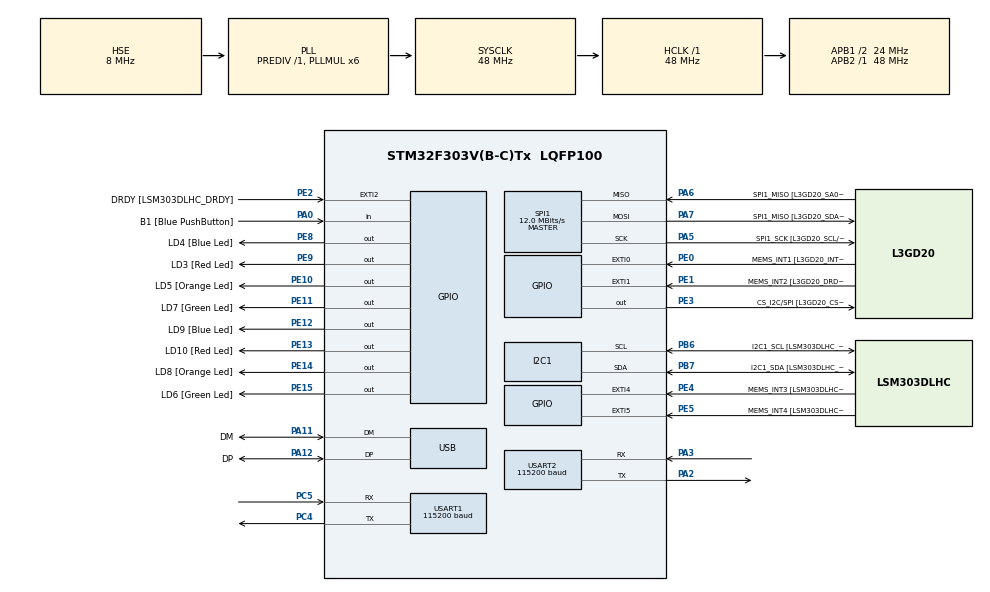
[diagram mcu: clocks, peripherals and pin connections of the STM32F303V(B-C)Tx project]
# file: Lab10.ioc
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I2C1.Timing=0x2000090E
I2C1.Timing-I2C=0x2000090E
Mcu.Family=STM32F3
Mcu.Name=STM32F303V(B-C)Tx
Mcu.Package=LQFP100
NVIC.PriorityGroup=NVIC_PRIORITYGROUP_0
NVIC.USB_LP_CAN_RX0_IRQn=true\:0\:0\:false\:false\:true\:false\:true\:true
PA0.GPIO_Label=B1 [Blue PushButton]
PA0.Signal=GPIO_Input
PA11.GPIO_Label=DM
PA11.Mode=Device
PA11.Signal=USB_DM
PA12.GPIO_Label=DP
PA12.Mode=Device
PA12.Signal=USB_DP
PA13.GPIO_Label=SWDIO
PA13.Mode=Serial_Wire
PA13.Signal=SYS_JTMS-SWDIO
PA14.GPIO_Label=SWCLK
PA14.Mode=Serial_Wire
PA14.Signal=SYS_JTCK-SWCLK
PA2.Mode=Asynchronous
PA2.Signal=USART2_TX
PA3.Mode=Asynchronous
PA3.Signal=USART2_RX
PA5.GPIO_Label=SPI1_SCK [L3GD20_SCL/SPC]
PA5.Mode=Full_Duplex_Master
PA5.Signal=SPI1_SCK
PA6.GPIO_Label=SPI1_MISO [L3GD20_SA0/SDO]
PA6.Mode=Full_Duplex_Master
PA6.Signal=SPI1_MISO
PA7.GPIO_Label=SPI1_MISO [L3GD20_SDA/SDI/SDO]
PA7.Mode=Full_Duplex_Master
PA7.Signal=SPI1_MOSI
PB3.GPIO_Label=SWO
PB3.Signal=SYS_JTDO-TRACESWO
PB6.GPIO_Label=I2C1_SCL [LSM303DLHC_SCL]
PB6.GPIO_Pu=GPIO_PULLUP
PB6.Mode=I2C
PB6.Signal=I2C1_SCL
PB7.GPIO_Label=I2C1_SDA [LSM303DLHC_SDA]
PB7.GPIO_Pu=GPIO_PULLUP
PB7.Mode=I2C
PB7.Signal=I2C1_SDA
PC14-OSC32_IN.GPIO_Label=OSC32_IN
PC14-OSC32_IN.Signal=RCC_OSC32_IN
PC15-OSC32_OUT.GPIO_Label=OSC32_OUT
PC15-OSC32_OUT.Signal=RCC_OSC32_OUT
PC4.Mode=Asynchronous
PC4.Signal=USART1_TX
PC5.Mode=Asynchronous
PC5.Signal=USART1_RX
PE0.GPIO_Label=MEMS_INT1 [L3GD20_INT1]
PE0.GPIO_ModeDefaultEXTI=GPIO_MODE_EVT_RISING
PE0.Signal=GPXTI0
PE1.GPIO_Label=MEMS_INT2 [L3GD20_DRDY/INT2]
PE1.GPIO_ModeDefaultEXTI=GPIO_MODE_EVT_RISING
PE1.Signal=GPXTI1
PE10.GPIO_Label=LD5 [Orange Led]
PE10.Signal=GPIO_Output
PE11.GPIO_Label=LD7 [Green Led]
PE11.Signal=GPIO_Output
PE12.GPIO_Label=LD9 [Blue Led]
PE12.Signal=GPIO_Output
PE13.GPIO_Label=LD10 [Red Led]
PE13.Signal=GPIO_Output
PE14.GPIO_Label=LD8 [Orange Led]
PE14.Signal=GPIO_Output
PE15.GPIO_Label=LD6 [Green Led]
PE15.Signal=GPIO_Output
PE2.GPIO_Label=DRDY [LSM303DLHC_DRDY]
PE2.GPIO_ModeDefaultEXTI=GPIO_MODE_EVT_RISING
PE2.Signal=GPXTI2
PE3.GPIO_Label=CS_I2C/SPI [L3GD20_CS_I2C/SPI]
PE3.Signal=GPIO_Output
PE4.GPIO_Label=MEMS_INT3 [LSM303DLHC_INT1]
PE4.GPIO_ModeDefaultEXTI=GPIO_MODE_EVT_RISING
PE4.Signal=GPXTI4
PE5.GPIO_Label=MEMS_INT4 [LSM303DLHC_INT2]
PE5.GPIO_ModeDefaultEXTI=GPIO_MODE_EVT_RISING
PE5.Signal=GPXTI5
PE8.GPIO_Label=LD4 [Blue Led]
PE8.Signal=GPIO_Output
PE9.GPIO_Label=LD3 [Red Led]
PE9.Signal=GPIO_Output
PF0-OSC_IN.GPIO_Label=OSC_IN
PF0-OSC_IN.Mode=HSE-External-Clock-Source
PF0-OSC_IN.Signal=RCC_OSC_IN
PF1-OSC_OUT.GPIO_Label=OSC_OUT
PF1-OSC_OUT.Signal=RCC_OSC_OUT
ProjectManager.HeapSize=0x200
ProjectManager.StackSize=0x400
ProjectManager.TargetToolchain=CMake
RCC.AHBFreq_Value=48000000
RCC.APB1CLKDivider=RCC_HCLK_DIV2
RCC.APB1Freq_Value=24000000
RCC.APB1TimFreq_Value=48000000
RCC.APB2Freq_Value=48000000
RCC.APB2TimFreq_Value=48000000
RCC.CortexFreq_Value=48000000
RCC.HCLKFreq_Value=48000000
RCC.HSE_VALUE=8000000
RCC.HSI_VALUE=8000000
RCC.LSE_VALUE=32768
RCC.PLLMUL=RCC_PLL_MUL6
RCC.SYSCLKFreq_VALUE=48000000
RCC.SYSCLKSourceVirtual=RCC_SYSCLKSOURCE_PLLCLK
RCC.USBFreq_Value=48000000
SPI1.BaudRatePrescaler=SPI_BAUDRATEPRESCALER_4
SPI1.BaudRatePrescaler-Full_Duplex_Master=SPI_BAUDRATEPRESCALER_2
SPI1.CalculateBaudRate=12.0 MBits/s
SPI1.CalculateBaudRate-Full_Duplex_Master=24.0 MBits/s
SPI1.Direction=SPI_DIRECTION_2LINES
SPI1.Mode=SPI_MODE_MASTER
SPI1.Mode-Full_Duplex_Master=SPI_MODE_MASTER
SPI1.VirtualType=VM_MASTER
USART1.BaudRate=115200
USART1.VirtualMode-Asynchronous=VM_ASYNC
USART2.BaudRate=115200
USART2.VirtualMode-Asynchronous=VM_ASYNC
USB_DEVICE.CLASS_NAME_FS=CDC
USB_DEVICE.VirtualMode=Cdc
USB_DEVICE.VirtualModeFS=Cdc_FS
VP_USB_DEVICE_VS_USB_DEVICE_CDC_FS.Mode=CDC_FS
board=STM32F3DISCOVERY

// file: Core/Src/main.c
/* USER CODE BEGIN Header */
/**
  ******************************************************************************
  * @file           : main.c
  * @brief          : Main program body
  ******************************************************************************
  * @attention
  *
  * Copyright (c) 2026 STMicroelectronics.
  * All rights reserved.
  *
  * This software is licensed under terms that can be found in the LICENSE file
  * in the root directory of this software component.
  * If no LICENSE file comes with this software, it is provided AS-IS.
  *
  ******************************************************************************
  */
/* USER CODE END Header */
#include "main.h"
#include "usb_device.h"
#include "stdarg.h"
#include "stdio.h"
#include "stm32f3xx_hal.h"
#include "string.h"
#include "math.h"
#include <alloca.h>

I2C_HandleTypeDef hi2c1;

SPI_HandleTypeDef hspi1;

UART_HandleTypeDef huart1;
UART_HandleTypeDef huart2;

void SystemClock_Config(void);
static void MX_GPIO_Init(void);
static void MX_I2C1_Init(void);
static void MX_SPI1_Init(void);
static void MX_USART1_UART_Init(void);
static void MX_USART2_UART_Init(void);

/* USER CODE BEGIN 0 */
void myPrintf(const char *fmt, ...);
static size_t allocation_count = 0;
int n = 10;
/* USER CODE END 0 */

int main(void)
{

  /* MCU Configuration--------------------------------------------------------*/

  /* Reset of all peripherals, Initializes the Flash interface and the Systick. */
  HAL_Init();

  /* Configure the system clock */
  SystemClock_Config();

  /* Initialize all configured peripherals */
  MX_GPIO_Init();
  MX_I2C1_Init();
  MX_SPI1_Init();
  MX_USART1_UART_Init();
  MX_USART2_UART_Init();
  MX_USB_DEVICE_Init();

  /* USER CODE BEGIN 2 */
  myPrintf("Initial Allocation Count: %d \r\n", allocation_count);

  int* array = (int*) malloc(n * sizeof(int));
  allocation_count ++;
  myPrintf("Allocation Count: %d \r\n", allocation_count);

  if (array != NULL){
    for (int i = 0; i < n; i++){
      *(array + i) = i * 2;
    }

    for (int i = 0; i < n; i++){
      myPrintf("i = %d, element = %d \r\n", i, *(array + i));
    }
  }

  else {
    myPrintf("Failed to allocate memory for array \r\n");
  }

  int* array2 = (int*) calloc(n, sizeof(int));
  allocation_count ++;
  myPrintf("Allocation Count: %d \r\n", allocation_count);
  if (array2 != NULL){
    for (int i = 0; i < n; i++){
      *(array2 + i) = i + 1;
    }

    for (int i = 0; i < n; i++){
      myPrintf("i = %d, element = %d \r\n", i, *(array2 + i));
    }
  }
  else {
    myPrintf("Failed to allocate memory for array2 \r\n");
  }

  if(array != NULL){
    free(array);
    allocation_count --;
    array = NULL;
    myPrintf("Allocation Count: %d \r\n", allocation_count);
  }

  if(array2 != NULL){
    free(array2);
    allocation_count --;
    array2 = NULL;
    myPrintf("Allocation Count: %d \r\n", allocation_count);
  }
  /* USER CODE END 2 */

  /* Infinite loop */
  while (1)
  {
  }
}

void SystemClock_Config(void)
{
  RCC_OscInitTypeDef RCC_OscInitStruct = {0};
  RCC_ClkInitTypeDef RCC_ClkInitStruct = {0};
  RCC_PeriphCLKInitTypeDef PeriphClkInit = {0};

  /** Initializes the RCC Oscillators according to the specified parameters
  * in the RCC_OscInitTypeDef structure.
  */
  RCC_OscInitStruct.OscillatorType = RCC_OSCILLATORTYPE_HSI|RCC_OSCILLATORTYPE_HSE;
  RCC_OscInitStruct.HSEState = RCC_HSE_BYPASS;
  RCC_OscInitStruct.HSEPredivValue = RCC_HSE_PREDIV_DIV1;
  RCC_OscInitStruct.HSIState = RCC_HSI_ON;
  RCC_OscInitStruct.HSICalibrationValue = RCC_HSICALIBRATION_DEFAULT;
  RCC_OscInitStruct.PLL.PLLState = RCC_PLL_ON;
  RCC_OscInitStruct.PLL.PLLSource = RCC_PLLSOURCE_HSE;
  RCC_OscInitStruct.PLL.PLLMUL = RCC_PLL_MUL6;
  if (HAL_RCC_OscConfig(&RCC_OscInitStruct) != HAL_OK)
  {
    Error_Handler();
  }

  /** Initializes the CPU, AHB and APB buses clocks
  */
  RCC_ClkInitStruct.ClockType = RCC_CLOCKTYPE_HCLK|RCC_CLOCKTYPE_SYSCLK
                              |RCC_CLOCKTYPE_PCLK1|RCC_CLOCKTYPE_PCLK2;
  RCC_ClkInitStruct.SYSCLKSource = RCC_SYSCLKSOURCE_PLLCLK;
  RCC_ClkInitStruct.AHBCLKDivider = RCC_SYSCLK_DIV1;
  RCC_ClkInitStruct.APB1CLKDivider = RCC_HCLK_DIV2;
  RCC_ClkInitStruct.APB2CLKDivider = RCC_HCLK_DIV1;

  if (HAL_RCC_ClockConfig(&RCC_ClkInitStruct, FLASH_LATENCY_1) != HAL_OK)
  {
    Error_Handler();
  }
  PeriphClkInit.PeriphClockSelection = RCC_PERIPHCLK_USB|RCC_PERIPHCLK_USART1
                              |RCC_PERIPHCLK_USART2|RCC_PERIPHCLK_I2C1;
  PeriphClkInit.Usart1ClockSelection = RCC_USART1CLKSOURCE_PCLK2;
  PeriphClkInit.Usart2ClockSelection = RCC_USART2CLKSOURCE_PCLK1;
  PeriphClkInit.I2c1ClockSelection = RCC_I2C1CLKSOURCE_HSI;
  PeriphClkInit.USBClockSelection = RCC_USBCLKSOURCE_PLL;
  if (HAL_RCCEx_PeriphCLKConfig(&PeriphClkInit) != HAL_OK)
  {
    Error_Handler();
  }
}

static void MX_I2C1_Init(void)
{

  hi2c1.Instance = I2C1;
  hi2c1.Init.Timing = 0x2000090E;
  hi2c1.Init.OwnAddress1 = 0;
  hi2c1.Init.AddressingMode = I2C_ADDRESSINGMODE_7BIT;
  hi2c1.Init.DualAddressMode = I2C_DUALADDRESS_DISABLE;
  hi2c1.Init.OwnAddress2 = 0;
  hi2c1.Init.OwnAddress2Masks = I2C_OA2_NOMASK;
  hi2c1.Init.GeneralCallMode = I2C_GENERALCALL_DISABLE;
  hi2c1.Init.NoStretchMode = I2C_NOSTRETCH_DISABLE;
  if (HAL_I2C_Init(&hi2c1) != HAL_OK)
  {
    Error_Handler();
  }

  /** Configure Analogue filter
  */
  if (HAL_I2CEx_ConfigAnalogFilter(&hi2c1, I2C_ANALOGFILTER_ENABLE) != HAL_OK)
  {
    Error_Handler();
  }

  /** Configure Digital filter
  */
  if (HAL_I2CEx_ConfigDigitalFilter(&hi2c1, 0) != HAL_OK)
  {
    Error_Handler();
  }

}

static void MX_SPI1_Init(void)
{

  /* SPI1 parameter configuration*/
  hspi1.Instance = SPI1;
  hspi1.Init.Mode = SPI_MODE_MASTER;
  hspi1.Init.Direction = SPI_DIRECTION_2LINES;
  hspi1.Init.DataSize = SPI_DATASIZE_4BIT;
  hspi1.Init.CLKPolarity = SPI_POLARITY_LOW;
  hspi1.Init.CLKPhase = SPI_PHASE_1EDGE;
  hspi1.Init.NSS = SPI_NSS_SOFT;
  hspi1.Init.BaudRatePrescaler = SPI_BAUDRATEPRESCALER_4;
  hspi1.Init.FirstBit = SPI_FIRSTBIT_MSB;
  hspi1.Init.TIMode = SPI_TIMODE_DISABLE;
  hspi1.Init.CRCCalculation = SPI_CRCCALCULATION_DISABLE;
  hspi1.Init.CRCPolynomial = 7;
  hspi1.Init.CRCLength = SPI_CRC_LENGTH_DATASIZE;
  hspi1.Init.NSSPMode = SPI_NSS_PULSE_ENABLE;
  if (HAL_SPI_Init(&hspi1) != HAL_OK)
  {
    Error_Handler();
  }

}

static void MX_USART1_UART_Init(void)
{

  huart1.Instance = USART1;
  huart1.Init.BaudRate = 115200;
  huart1.Init.WordLength = UART_WORDLENGTH_8B;
  huart1.Init.StopBits = UART_STOPBITS_1;
  huart1.Init.Parity = UART_PARITY_NONE;
  huart1.Init.Mode = UART_MODE_TX_RX;
  huart1.Init.HwFlowCtl = UART_HWCONTROL_NONE;
  huart1.Init.OverSampling = UART_OVERSAMPLING_16;
  huart1.Init.OneBitSampling = UART_ONE_BIT_SAMPLE_DISABLE;
  huart1.AdvancedInit.AdvFeatureInit = UART_ADVFEATURE_NO_INIT;
  if (HAL_UART_Init(&huart1) != HAL_OK)
  {
    Error_Handler();
  }

}

static void MX_USART2_UART_Init(void)
{

  huart2.Instance = USART2;
  huart2.Init.BaudRate = 115200;
  huart2.Init.WordLength = UART_WORDLENGTH_8B;
  huart2.Init.StopBits = UART_STOPBITS_1;
  huart2.Init.Parity = UART_PARITY_NONE;
  huart2.Init.Mode = UART_MODE_TX_RX;
  huart2.Init.HwFlowCtl = UART_HWCONTROL_NONE;
  huart2.Init.OverSampling = UART_OVERSAMPLING_16;
  huart2.Init.OneBitSampling = UART_ONE_BIT_SAMPLE_DISABLE;
  huart2.AdvancedInit.AdvFeatureInit = UART_ADVFEATURE_NO_INIT;
  if (HAL_UART_Init(&huart2) != HAL_OK)
  {
    Error_Handler();
  }

}

static void MX_GPIO_Init(void)
{
  GPIO_InitTypeDef GPIO_InitStruct = {0};

  /* GPIO Ports Clock Enable */
  __HAL_RCC_GPIOE_CLK_ENABLE();
  __HAL_RCC_GPIOC_CLK_ENABLE();
  __HAL_RCC_GPIOF_CLK_ENABLE();
  __HAL_RCC_GPIOA_CLK_ENABLE();
  __HAL_RCC_GPIOB_CLK_ENABLE();

  /*Configure GPIO pin Output Level */
  HAL_GPIO_WritePin(GPIOE, CS_I2C_SPI_Pin|LD4_Pin|LD3_Pin|LD5_Pin
                          |LD7_Pin|LD9_Pin|LD10_Pin|LD8_Pin
                          |LD6_Pin, GPIO_PIN_RESET);

  /*Configure GPIO pins : DRDY_Pin MEMS_INT3_Pin MEMS_INT4_Pin MEMS_INT1_Pin
                           MEMS_INT2_Pin */
  GPIO_InitStruct.Pin = DRDY_Pin|MEMS_INT3_Pin|MEMS_INT4_Pin|MEMS_INT1_Pin
                          |MEMS_INT2_Pin;
  GPIO_InitStruct.Mode = GPIO_MODE_EVT_RISING;
  GPIO_InitStruct.Pull = GPIO_NOPULL;
  HAL_GPIO_Init(GPIOE, &GPIO_InitStruct);

  /*Configure GPIO pins : CS_I2C_SPI_Pin LD4_Pin LD3_Pin LD5_Pin
                           LD7_Pin LD9_Pin LD10_Pin LD8_Pin
                           LD6_Pin */
  GPIO_InitStruct.Pin = CS_I2C_SPI_Pin|LD4_Pin|LD3_Pin|LD5_Pin
                          |LD7_Pin|LD9_Pin|LD10_Pin|LD8_Pin
                          |LD6_Pin;
  GPIO_InitStruct.Mode = GPIO_MODE_OUTPUT_PP;
  GPIO_InitStruct.Pull = GPIO_NOPULL;
  GPIO_InitStruct.Speed = GPIO_SPEED_FREQ_LOW;
  HAL_GPIO_Init(GPIOE, &GPIO_InitStruct);

  /*Configure GPIO pin : B1_Pin */
  GPIO_InitStruct.Pin = B1_Pin;
  GPIO_InitStruct.Mode = GPIO_MODE_INPUT;
  GPIO_InitStruct.Pull = GPIO_NOPULL;
  HAL_GPIO_Init(B1_GPIO_Port, &GPIO_InitStruct);

}

/* USER CODE BEGIN 4 */
void myPrintf(const char *fmt, ...)
{
  char buffer[50];
  va_list argument;
  va_start(argument, fmt);
  vsnprintf(buffer, sizeof(buffer), fmt, argument);
  HAL_UART_Transmit(&huart1,  (uint8_t*)buffer, strlen(buffer), HAL_MAX_DELAY);
}

/* USER CODE END 4 */

void Error_Handler(void)
{
  __disable_irq();
  while (1)
  {
  }
}
